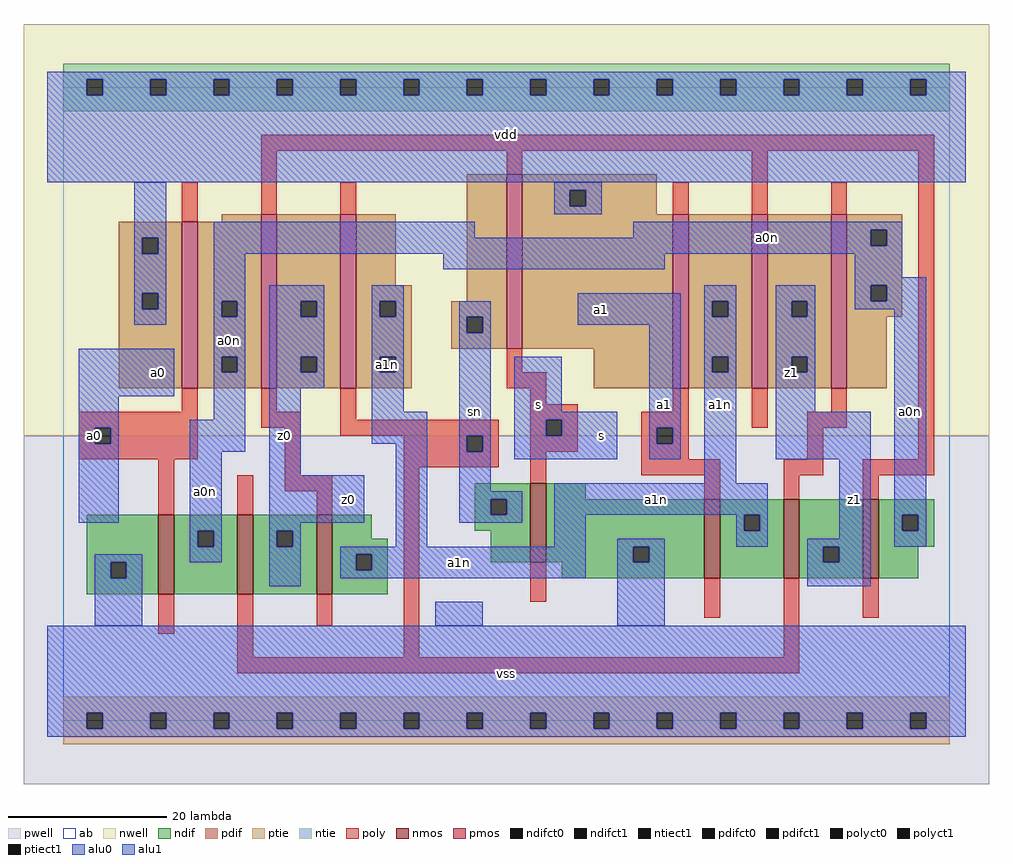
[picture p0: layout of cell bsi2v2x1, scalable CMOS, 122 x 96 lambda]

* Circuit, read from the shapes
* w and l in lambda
.subckt bsi2v2x1 a0 a0n a1 a1n s sn vdd vss z0 z1
M1 a0n a0 vss vss nfet w=10 l=2
M2 z0 sn a0n vss nfet w=10 l=2
M3 a1n s z0 vss nfet w=10 l=2
M4 vss s sn vss nfet w=10 l=2
M5 a1n a1 vss vss nfet w=10 l=2
M6 z1 sn a1n vss nfet w=10 l=2
M7 a0n s z1 vss nfet w=10 l=2
M8 a0n a0 vdd vdd pfet w=21 l=2
M9 z0 s a0n vdd pfet w=22 l=2
M10 a1n sn z0 vdd pfet w=22 l=2
M11 vdd s sn vdd pfet w=22 l=2
M12 a1n a1 vdd vdd pfet w=22 l=2
M13 z1 s a1n vdd pfet w=22 l=2
M14 a0n sn z1 vdd pfet w=22 l=2
.ends

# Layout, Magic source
magic
tech scmos
<< ab >>
rect 0 0 112 80
<< nwell >>
rect -5 36 117 88
<< pwell >>
rect -5 -8 117 36
<< poly >>
rect 25 72 110 74
rect 15 63 17 68
rect 25 64 27 72
rect 56 69 58 72
rect 35 64 37 68
rect 77 64 79 68
rect 87 64 89 72
rect 97 64 99 68
rect 56 44 58 47
rect 56 42 61 44
rect 15 39 17 42
rect 2 37 17 39
rect 25 39 27 42
rect 25 37 30 39
rect 2 35 4 37
rect 6 35 17 37
rect 2 33 17 35
rect 12 26 14 33
rect 28 31 30 37
rect 35 38 37 42
rect 59 40 61 42
rect 59 38 65 40
rect 77 39 79 42
rect 35 36 55 38
rect 43 34 51 36
rect 53 34 55 36
rect 43 32 55 34
rect 59 36 61 38
rect 63 36 65 38
rect 59 34 65 36
rect 73 37 79 39
rect 87 37 89 42
rect 97 39 99 42
rect 94 37 99 39
rect 73 35 75 37
rect 77 35 79 37
rect 22 26 24 31
rect 28 29 34 31
rect 32 26 34 29
rect 12 11 14 16
rect 22 8 24 16
rect 32 12 34 16
rect 43 8 45 32
rect 59 30 61 34
rect 73 33 79 35
rect 94 33 96 37
rect 108 33 110 72
rect 73 31 83 33
rect 81 28 83 31
rect 91 31 96 33
rect 101 31 110 33
rect 91 28 93 31
rect 101 28 103 31
rect 59 15 61 20
rect 81 13 83 18
rect 91 8 93 18
rect 101 13 103 18
rect 22 6 93 8
<< ndif >>
rect 3 20 12 26
rect 3 18 6 20
rect 8 18 12 20
rect 3 16 12 18
rect 14 24 22 26
rect 14 22 17 24
rect 19 22 22 24
rect 14 16 22 22
rect 24 24 32 26
rect 24 22 27 24
rect 29 22 32 24
rect 24 16 32 22
rect 34 23 39 26
rect 34 21 41 23
rect 34 19 37 21
rect 39 19 41 21
rect 34 16 41 19
rect 52 28 59 30
rect 52 26 54 28
rect 56 26 59 28
rect 52 24 59 26
rect 54 20 59 24
rect 61 28 66 30
rect 61 22 81 28
rect 61 20 72 22
rect 74 20 81 22
rect 63 18 81 20
rect 83 26 91 28
rect 83 24 86 26
rect 88 24 91 26
rect 83 18 91 24
rect 93 22 101 28
rect 93 20 96 22
rect 98 20 101 22
rect 93 18 101 20
rect 103 26 110 28
rect 103 24 106 26
rect 108 24 110 26
rect 103 22 110 24
rect 103 18 108 22
<< pdif >>
rect 20 63 25 64
rect 7 61 15 63
rect 7 59 10 61
rect 12 59 15 61
rect 7 54 15 59
rect 7 52 10 54
rect 12 52 15 54
rect 7 42 15 52
rect 17 53 25 63
rect 17 51 20 53
rect 22 51 25 53
rect 17 46 25 51
rect 17 44 20 46
rect 22 44 25 46
rect 17 42 25 44
rect 27 53 35 64
rect 27 51 30 53
rect 32 51 35 53
rect 27 46 35 51
rect 27 44 30 46
rect 32 44 35 46
rect 27 42 35 44
rect 37 55 42 64
rect 37 53 44 55
rect 51 53 56 69
rect 37 51 40 53
rect 42 51 44 53
rect 37 46 44 51
rect 49 51 56 53
rect 49 49 51 51
rect 53 49 56 51
rect 49 47 56 49
rect 58 67 75 69
rect 58 65 64 67
rect 66 65 75 67
rect 58 64 75 65
rect 58 47 77 64
rect 37 44 40 46
rect 42 44 44 46
rect 37 42 44 44
rect 67 42 77 47
rect 79 53 87 64
rect 79 51 82 53
rect 84 51 87 53
rect 79 46 87 51
rect 79 44 82 46
rect 84 44 87 46
rect 79 42 87 44
rect 89 53 97 64
rect 89 51 92 53
rect 94 51 97 53
rect 89 46 97 51
rect 89 44 92 46
rect 94 44 97 46
rect 89 42 97 44
rect 99 62 106 64
rect 99 60 102 62
rect 104 60 106 62
rect 99 55 106 60
rect 99 53 102 55
rect 104 53 106 55
rect 99 51 106 53
rect 99 42 104 51
<< alu1 >>
rect -2 81 114 82
rect -2 79 3 81
rect 5 79 11 81
rect 13 79 19 81
rect 21 79 27 81
rect 29 79 35 81
rect 37 79 43 81
rect 45 79 51 81
rect 53 79 59 81
rect 61 79 67 81
rect 69 79 75 81
rect 77 79 83 81
rect 85 79 91 81
rect 93 79 99 81
rect 101 79 107 81
rect 109 79 114 81
rect -2 68 114 79
rect 2 41 14 47
rect 2 37 7 41
rect 2 35 4 37
rect 6 35 7 37
rect 2 25 7 35
rect 26 53 33 55
rect 26 51 30 53
rect 32 51 33 53
rect 26 46 33 51
rect 26 44 30 46
rect 32 44 33 46
rect 26 42 33 44
rect 26 31 30 42
rect 65 50 78 54
rect 26 25 38 31
rect 26 24 30 25
rect 26 22 27 24
rect 29 22 30 24
rect 57 39 63 46
rect 57 38 70 39
rect 57 36 61 38
rect 63 36 70 38
rect 57 33 70 36
rect 74 37 78 50
rect 74 35 75 37
rect 77 35 78 37
rect 74 33 78 35
rect 90 53 95 55
rect 90 51 92 53
rect 94 51 95 53
rect 90 46 95 51
rect 90 44 92 46
rect 94 44 95 46
rect 90 39 95 44
rect 90 33 102 39
rect 26 17 30 22
rect 98 23 102 33
rect 94 22 102 23
rect 94 20 96 22
rect 98 20 102 22
rect 94 17 102 20
rect -2 1 114 12
rect -2 -1 3 1
rect 5 -1 11 1
rect 13 -1 19 1
rect 21 -1 27 1
rect 29 -1 35 1
rect 37 -1 43 1
rect 45 -1 51 1
rect 53 -1 59 1
rect 61 -1 67 1
rect 69 -1 75 1
rect 77 -1 83 1
rect 85 -1 91 1
rect 93 -1 99 1
rect 101 -1 107 1
rect 109 -1 114 1
rect -2 -2 114 -1
<< ptie >>
rect 0 1 112 3
rect 0 -1 3 1
rect 5 -1 11 1
rect 13 -1 19 1
rect 21 -1 27 1
rect 29 -1 35 1
rect 37 -1 43 1
rect 45 -1 51 1
rect 53 -1 59 1
rect 61 -1 67 1
rect 69 -1 75 1
rect 77 -1 83 1
rect 85 -1 91 1
rect 93 -1 99 1
rect 101 -1 107 1
rect 109 -1 112 1
rect 0 -3 112 -1
<< ntie >>
rect 0 81 112 83
rect 0 79 3 81
rect 5 79 11 81
rect 13 79 19 81
rect 21 79 27 81
rect 29 79 35 81
rect 37 79 43 81
rect 45 79 51 81
rect 53 79 59 81
rect 61 79 67 81
rect 69 79 75 81
rect 77 79 83 81
rect 85 79 91 81
rect 93 79 99 81
rect 101 79 107 81
rect 109 79 112 81
rect 0 77 112 79
<< nmos >>
rect 12 16 14 26
rect 22 16 24 26
rect 32 16 34 26
rect 59 20 61 30
rect 81 18 83 28
rect 91 18 93 28
rect 101 18 103 28
<< pmos >>
rect 15 42 17 63
rect 25 42 27 64
rect 35 42 37 64
rect 56 47 58 69
rect 77 42 79 64
rect 87 42 89 64
rect 97 42 99 64
<< polyct0 >>
rect 51 34 53 36
<< polyct1 >>
rect 4 35 6 37
rect 61 36 63 38
rect 75 35 77 37
<< ndifct0 >>
rect 6 18 8 20
rect 17 22 19 24
rect 37 19 39 21
rect 54 26 56 28
rect 72 20 74 22
rect 86 24 88 26
rect 106 24 108 26
<< ndifct1 >>
rect 27 22 29 24
rect 96 20 98 22
<< ntiect1 >>
rect 3 79 5 81
rect 11 79 13 81
rect 19 79 21 81
rect 27 79 29 81
rect 35 79 37 81
rect 43 79 45 81
rect 51 79 53 81
rect 59 79 61 81
rect 67 79 69 81
rect 75 79 77 81
rect 83 79 85 81
rect 91 79 93 81
rect 99 79 101 81
rect 107 79 109 81
<< ptiect1 >>
rect 3 -1 5 1
rect 11 -1 13 1
rect 19 -1 21 1
rect 27 -1 29 1
rect 35 -1 37 1
rect 43 -1 45 1
rect 51 -1 53 1
rect 59 -1 61 1
rect 67 -1 69 1
rect 75 -1 77 1
rect 83 -1 85 1
rect 91 -1 93 1
rect 99 -1 101 1
rect 107 -1 109 1
<< pdifct0 >>
rect 10 59 12 61
rect 10 52 12 54
rect 20 51 22 53
rect 20 44 22 46
rect 40 51 42 53
rect 51 49 53 51
rect 64 65 66 67
rect 40 44 42 46
rect 82 51 84 53
rect 82 44 84 46
rect 102 60 104 62
rect 102 53 104 55
<< pdifct1 >>
rect 30 51 32 53
rect 30 44 32 46
rect 92 51 94 53
rect 92 44 94 46
<< alu0 >>
rect 9 61 13 68
rect 62 67 68 68
rect 62 65 64 67
rect 66 65 68 67
rect 62 64 68 65
rect 9 59 10 61
rect 12 59 13 61
rect 9 54 13 59
rect 9 52 10 54
rect 12 52 13 54
rect 9 50 13 52
rect 19 61 52 63
rect 72 62 106 63
rect 72 61 102 62
rect 19 60 102 61
rect 104 60 106 62
rect 19 59 106 60
rect 19 53 23 59
rect 48 57 76 59
rect 100 56 106 59
rect 100 55 109 56
rect 19 51 20 53
rect 22 51 23 53
rect 19 46 23 51
rect 19 44 20 46
rect 22 44 23 46
rect 19 38 23 44
rect 16 34 23 38
rect 39 53 43 55
rect 39 51 40 53
rect 42 51 43 53
rect 39 46 43 51
rect 39 44 40 46
rect 42 44 43 46
rect 16 24 20 34
rect 16 22 17 24
rect 19 22 20 24
rect 4 20 10 21
rect 16 20 20 22
rect 39 39 43 44
rect 50 51 54 53
rect 50 49 51 51
rect 53 49 54 51
rect 39 35 46 39
rect 42 22 46 35
rect 50 36 54 49
rect 50 34 51 36
rect 53 34 54 36
rect 50 29 54 34
rect 81 53 85 55
rect 81 51 82 53
rect 84 51 85 53
rect 81 46 85 51
rect 81 44 82 46
rect 84 44 85 46
rect 81 30 85 44
rect 100 53 102 55
rect 104 53 109 55
rect 100 52 109 53
rect 50 28 58 29
rect 50 26 54 28
rect 56 26 58 28
rect 50 25 58 26
rect 62 26 89 30
rect 62 22 66 26
rect 85 24 86 26
rect 88 24 89 26
rect 4 18 6 20
rect 8 18 10 20
rect 4 12 10 18
rect 35 21 66 22
rect 35 19 37 21
rect 39 19 66 21
rect 35 18 66 19
rect 70 22 76 23
rect 85 22 89 24
rect 105 26 109 52
rect 105 24 106 26
rect 108 24 109 26
rect 105 22 109 24
rect 70 20 72 22
rect 74 20 76 22
rect 47 12 53 15
rect 70 12 76 20
<< labels >>
rlabel alu0 18 29 18 29 6 a0n
rlabel alu0 21 48 21 48 6 a0n
rlabel alu0 52 39 52 39 6 sn
rlabel pdifct0 41 45 41 45 6 a1n
rlabel alu0 50 20 50 20 6 a1n
rlabel alu0 75 28 75 28 6 a1n
rlabel alu0 107 39 107 39 6 a0n
rlabel alu0 83 40 83 40 6 a1n
rlabel alu0 89 61 89 61 6 a0n
rlabel alu1 4 36 4 36 6 a0
rlabel alu1 12 44 12 44 6 a0
rlabel alu1 28 36 28 36 6 z0
rlabel alu1 36 28 36 28 6 z0
rlabel alu1 56 6 56 6 6 vss
rlabel alu1 68 36 68 36 6 s
rlabel alu1 76 40 76 40 6 a1
rlabel alu1 60 40 60 40 6 s
rlabel alu1 68 52 68 52 6 a1
rlabel alu1 56 74 56 74 6 vdd
rlabel alu1 100 28 100 28 6 z1
rlabel alu1 92 44 92 44 6 z1
<< end >>
